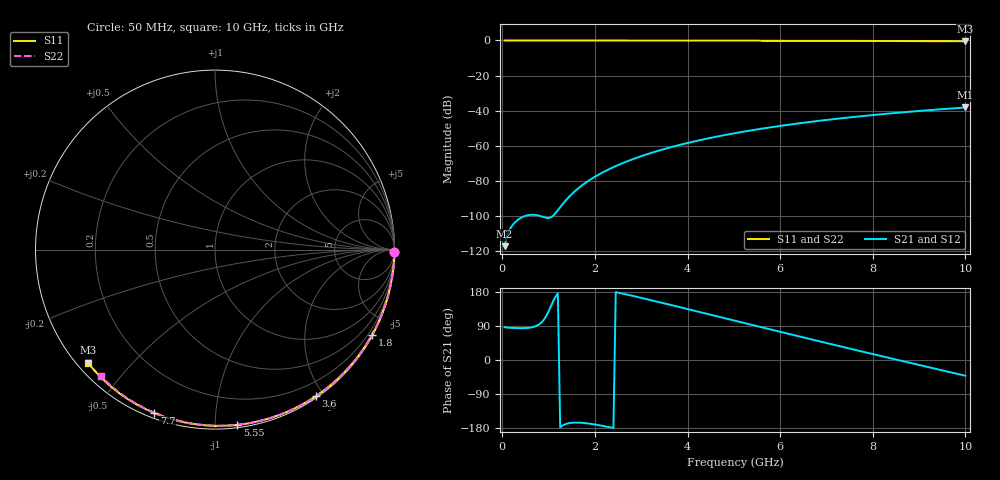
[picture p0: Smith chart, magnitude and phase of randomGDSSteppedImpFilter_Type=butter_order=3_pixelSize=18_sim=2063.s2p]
! freq	dB(S11)	phase(S11)	dB(S12)	phase(S12)
!  dB(S21)	phase(S21)	dB(S22)	phase(S22)
!S-par simulation data
#  GHz  S  DB  R 50
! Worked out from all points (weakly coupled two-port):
!   200 points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, 50 MHz to 10 GHz, reference 50 ohm
!   highest |S21| = -38.13 dB at 10 GHz (marker M1); lowest = -117.0 dB at 50 MHz (marker M2)
!   lowest |S11| = -0.5 dB at 10 GHz (marker M3), VSWR 37.06, Z = 1.54 - j19 ohm
!   |S11| at or under -10 dB: nowhere
!   |S22| runs from -0.4 to 0.0 dB; largest |S21 - S12| = 0
!   S11 on the Smith chart (normalised r, x): 50 MHz: open; 1.8 GHz: 0.03, -3.95; 3.6 GHz: 0.02, -1.90; 5.55 GHz: 0.02, -1.13; 7.7 GHz: 0.02, -0.69; 10 GHz: 0.03, -0.38
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0.05  -0.00 -0.8  -117.01 86.9  -117.01 86.9  -0.00 -0.8
0.45  -0.01 -7.2  -100.24 84.0  -100.24 84.0  -0.01 -6.9
0.9  -0.02 -14.4  -100.55 106.6  -100.55 106.6  -0.02 -13.7
1.75  -0.04 -27.7  -81.86 -166.1  -81.86 -166.1  -0.03 -26.4
1.8  -0.04 -28.4  -80.91 -166.7  -80.91 -166.7  -0.03 -27.1
1.85  -0.04 -29.2  -80.02 -167.4  -80.02 -167.4  -0.04 -27.9
2.15  -0.04 -33.8  -75.31 -173.4  -75.31 -173.4  -0.04 -32.3
2.35  -0.05 -36.9  -72.67 -178.2  -72.67 -178.2  -0.05 -35.2
2.55  -0.05 -39.9  -70.32 176.5  -70.32 176.5  -0.05 -38.1
2.95  -0.06 -45.9  -66.28 165.4  -66.28 165.4  -0.06 -43.9
3.4  -0.07 -52.6  -62.49 152.3  -62.49 152.3  -0.07 -50.2
3.6  -0.08 -55.5  -61.00 146.4  -61.00 146.4  -0.07 -53.0
3.9  -0.08 -59.8  -58.95 137.5  -58.95 137.5  -0.08 -57.2
4.3  -0.09 -65.6  -56.51 125.5  -56.51 125.5  -0.09 -62.7
5.05  -0.12 -76.0  -52.61 102.9  -52.61 102.9  -0.11 -72.7
5.55  -0.14 -82.8  -50.39 87.9  -50.39 87.9  -0.13 -79.2
6.1  -0.16 -90.1  -48.23 71.5  -48.23 71.5  -0.15 -86.2
6.7  -0.19 -97.8  -46.16 53.6  -46.16 53.6  -0.18 -93.6
7.7  -0.25 -110.4  -43.21 24.3  -43.21 24.3  -0.24 -105.7
8.35  -0.30 -118.4  -41.56 5.5  -41.56 5.5  -0.29 -113.3
9.2  -0.38 -128.7  -39.67 -18.8  -39.67 -18.8  -0.36 -123.1
10  -0.47 -138.4  -38.13 -41.5  -38.13 -41.5  -0.45 -132.2
